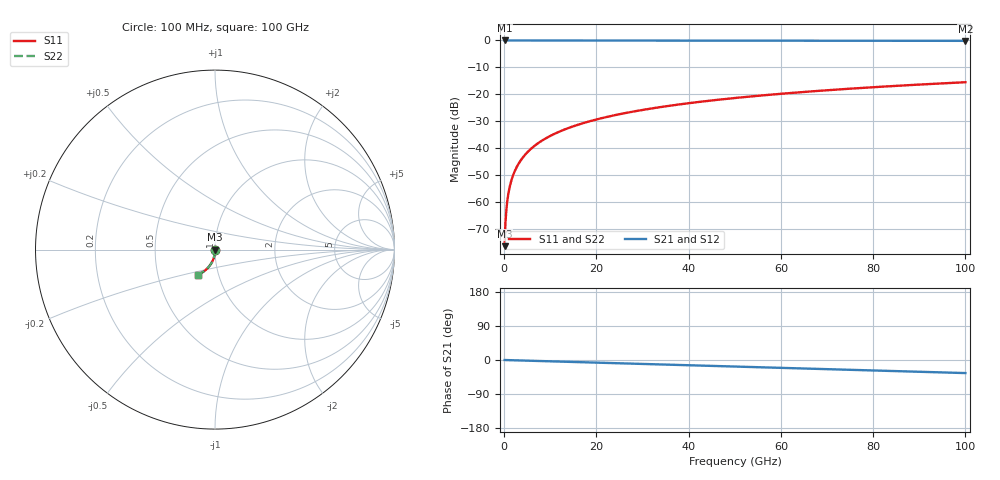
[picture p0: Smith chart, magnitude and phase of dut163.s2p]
! Touchstone file exported from HFSS 2026.1.0
!  File:  C:/ffzhzh/LocalFiles/Ansys_Project_Files/temp_train_TSV_163_1783506824_55944.aedt
!  Generated:  06:34:47 PM Jul  8, 2026
!  Design:  TSV
!  Project:  temp_train_TSV_163_1783506824_55944
! Variables:
!  h_bsmrdl = 2um
!  h_ox = 20um
!  h_rdl = 5um
!  h_sub = 66.4um
!  h_tmrdl = 5um
!  h_tsv = 66.4um
!  h_via = 3um
!  l_bsmrdl = 300um
!  l_sub = 428.88um
!  l_tmrdl = 200um
!  m_sub = 200um
!  pitch = 44.67um
!  r_tsv = 14.44um
!  s_tmrdl = 10um
!  w_bsmrdl = 18um
!  w_sub = 500um
!  w_tmrdl = 12um
!  x_tsv_center1 = 206um
!  x_tsv_center2 = 524um
!  x_tsv_center3 = 736um
!  x_tsv_center4 = 1054um
!  x_tsv_center5 = 1266um
!  x_tsv_center6 = 1584um
# GHz S MA R 50.000000
! Terminal data exported
! Port[1] = TSV1_1_T1
! Port[2] = TSV1_1_T2
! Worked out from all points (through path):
!   1000 points, 100 MHz to 100 GHz, reference 50 ohm
!   highest |S21| = 0.00 dB at 100 MHz (marker M1); lowest = -0.1 dB at 100 GHz (marker M2)
!   group delay of S21, straight-line fit = 958 fs
!   lowest |S11| = -76.5 dB at 100 MHz (marker M3), VSWR 1.00, Z = 50 - j0.0133 ohm
!   |S11| at or under -10 dB: start of sweep to end of sweep
!   |S22| runs from -76.5 to -15.5 dB; largest |S21 - S12| = 2.1e-15
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0.1  0.0001494 -62.6  0.9999 -0.0  0.9999 -0.0  0.0001494 -62.6
! Gamma 0 0 0 0
! Port Impedance 50 0 50 0
0.3  0.000427 -76.3  0.9999 -0.1  0.9999 -0.1  0.000427 -76.3
0.7  0.00106 -80.9  0.9998 -0.3  0.9998 -0.3  0.00106 -80.9
0.8  0.001224 -81.6  0.9998 -0.3  0.9998 -0.3  0.001224 -81.6
1  0.001554 -82.8  0.9998 -0.4  0.9998 -0.4  0.001554 -82.8
1.3  0.002049 -84.0  0.9998 -0.5  0.9998 -0.5  0.002049 -84.0
1.7  0.002712 -85.0  0.9997 -0.6  0.9997 -0.6  0.002712 -85.0
2.3  0.00371 -86.1  0.9997 -0.8  0.9997 -0.8  0.00371 -86.1
2.9  0.004716 -86.8  0.9996 -1.0  0.9996 -1.0  0.004716 -86.8
3.7  0.006064 -87.6  0.9996 -1.3  0.9996 -1.3  0.006064 -87.6
4.7  0.007759 -88.4  0.9995 -1.6  0.9995 -1.6  0.007759 -88.4
5.8  0.009628 -89.1  0.9995 -2.0  0.9995 -2.0  0.009628 -89.1
8.6  0.0144 -90.6  0.9993 -3.0  0.9993 -3.0  0.0144 -90.6
12.2  0.02055 -92.2  0.9991 -4.2  0.9991 -4.2  0.02055 -92.2
16.8  0.02843 -94.1  0.9987 -5.8  0.9987 -5.8  0.02843 -94.1
24.2  0.04111 -97.0  0.9981 -8.4  0.9981 -8.4  0.04111 -97.0
33.4  0.05684 -100.4  0.9972 -11.6  0.9972 -11.6  0.05684 -100.4
41.2  0.07012 -103.2  0.9962 -14.3  0.9962 -14.3  0.07012 -103.2
50.1  0.0852 -106.3  0.9948 -17.3  0.9948 -17.3  0.0852 -106.3
66.7  0.1131 -112.2  0.9918 -23.0  0.9918 -23.0  0.1131 -112.2
83.4  0.1406 -118.1  0.988 -28.8  0.988 -28.8  0.1406 -118.1
100  0.1671 -123.9  0.9834 -34.5  0.9834 -34.5  0.1671 -123.9
